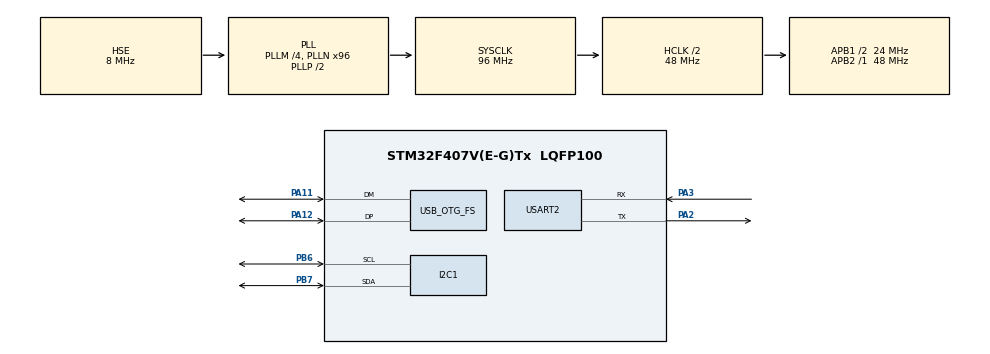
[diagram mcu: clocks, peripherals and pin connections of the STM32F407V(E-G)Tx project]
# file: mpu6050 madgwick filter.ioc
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Mcu.Family=STM32F4
Mcu.Name=STM32F407V(E-G)Tx
Mcu.Package=LQFP100
NVIC.OTG_FS_IRQn=true\:0\:0\:false\:false\:true\:false
NVIC.PriorityGroup=NVIC_PRIORITYGROUP_0
NVIC.RCC_IRQn=true\:0\:0\:false\:false\:true\:true
PA11.Mode=Device_Only
PA11.Signal=USB_OTG_FS_DM
PA12.Mode=Device_Only
PA12.Signal=USB_OTG_FS_DP
PA13.Mode=Serial_Wire
PA13.Signal=SYS_JTMS-SWDIO
PA14.Mode=Serial_Wire
PA14.Signal=SYS_JTCK-SWCLK
PA2.Mode=Asynchronous
PA2.Signal=USART2_TX
PA3.Mode=Asynchronous
PA3.Signal=USART2_RX
PB6.Mode=I2C
PB6.Signal=I2C1_SCL
PB7.Mode=I2C
PB7.Signal=I2C1_SDA
PH0-OSC_IN.Mode=HSE-External-Oscillator
PH0-OSC_IN.Signal=RCC_OSC_IN
PH1-OSC_OUT.Mode=HSE-External-Oscillator
PH1-OSC_OUT.Signal=RCC_OSC_OUT
ProjectManager.HeapSize=0x200
ProjectManager.StackSize=0x400
ProjectManager.TargetToolchain=MDK-ARM V5
RCC.48MHZClocksFreq_Value=48000000
RCC.AHBCLKDivider=RCC_SYSCLK_DIV2
RCC.AHBFreq_Value=48000000
RCC.APB1CLKDivider=RCC_HCLK_DIV2
RCC.APB1Freq_Value=24000000
RCC.APB1TimFreq_Value=48000000
RCC.APB2Freq_Value=48000000
RCC.APB2TimFreq_Value=48000000
RCC.CortexFreq_Value=48000000
RCC.HCLKFreq_Value=48000000
RCC.HSE_VALUE=8000000
RCC.HSI_VALUE=16000000
RCC.LSE_VALUE=32768
RCC.PLLM=4
RCC.PLLN=96
RCC.SYSCLKFreq_VALUE=96000000
RCC.SYSCLKSource=RCC_SYSCLKSOURCE_PLLCLK
RCC.VCOOutputFreq_Value=192000000
USART2.VirtualMode=VM_ASYNC
USB_DEVICE.CLASS_NAME_FS=HID
USB_DEVICE.VirtualMode-HID_FS=Hid
USB_DEVICE.VirtualModeFS=Hid_FS
USB_OTG_FS.VirtualMode=Device_Only
VP_USB_DEVICE_VS_USB_DEVICE_HID_FS.Mode=HID_FS
board=STM32F4DISCOVERY

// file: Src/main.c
/**
  ******************************************************************************
  * File Name          : main.c
  * Description        : Main program body
  ******************************************************************************
  * This notice applies to any and all portions of this file
  * that are not between comment pairs USER CODE BEGIN and
  * USER CODE END. Other portions of this file, whether
  * inserted by the user or by software development tools
  * are owned by their respective copyright owners.
  *
  * Copyright (c) 2017 STMicroelectronics International N.V.
  * All rights reserved.
  *
  * Redistribution and use in source and binary forms, with or without
  * modification, are permitted, provided that the following conditions are met:
  *
  * 1. Redistribution of source code must retain the above copyright notice,
  *    this list of conditions and the following disclaimer.
  * 2. Redistributions in binary form must reproduce the above copyright notice,
  *    this list of conditions and the following disclaimer in the documentation
  *    and/or other materials provided with the distribution.
  * 3. Neither the name of STMicroelectronics nor the names of other
  *    contributors to this software may be used to endorse or promote products
  *    derived from this software without specific written permission.
  * 4. This software, including modifications and/or derivative works of this
  *    software, must execute solely and exclusively on microcontroller or
  *    microprocessor devices manufactured by or for STMicroelectronics.
  * 5. Redistribution and use of this software other than as permitted under
  *    this license is void and will automatically terminate your rights under
  *    this license.
  *
  * THIS SOFTWARE IS PROVIDED BY STMICROELECTRONICS AND CONTRIBUTORS "AS IS"
  * AND ANY EXPRESS, IMPLIED OR STATUTORY WARRANTIES, INCLUDING, BUT NOT
  * LIMITED TO, THE IMPLIED WARRANTIES OF MERCHANTABILITY, FITNESS FOR A
  * PARTICULAR PURPOSE AND NON-INFRINGEMENT OF THIRD PARTY INTELLECTUAL PROPERTY
  * RIGHTS ARE DISCLAIMED TO THE FULLEST EXTENT PERMITTED BY LAW. IN NO EVENT
  * SHALL STMICROELECTRONICS OR CONTRIBUTORS BE LIABLE FOR ANY DIRECT, INDIRECT,
  * INCIDENTAL, SPECIAL, EXEMPLARY, OR CONSEQUENTIAL DAMAGES (INCLUDING, BUT NOT
  * LIMITED TO, PROCUREMENT OF SUBSTITUTE GOODS OR SERVICES; LOSS OF USE, DATA,
  * OR PROFITS; OR BUSINESS INTERRUPTION) HOWEVER CAUSED AND ON ANY THEORY OF
  * LIABILITY, WHETHER IN CONTRACT, STRICT LIABILITY, OR TORT (INCLUDING
  * NEGLIGENCE OR OTHERWISE) ARISING IN ANY WAY OUT OF THE USE OF THIS SOFTWARE,
  * EVEN IF ADVISED OF THE POSSIBILITY OF SUCH DAMAGE.
  *
  ******************************************************************************
  */

#include "main.h"
#include "stm32f4xx_hal.h"
#include "usb_device.h"

/* USER CODE BEGIN Includes */

#include <usbd_hid.h>
extern USBD_HandleTypeDef hUsbDeviceFS;
extern float gx, gy, gz, ax, ay, az;
#include <math.h>
#include <MadgwickAHRS.h>
/* USER CODE END Includes */

I2C_HandleTypeDef hi2c1;

UART_HandleTypeDef huart2;

/* USER CODE BEGIN PV */
/* Private variables ---------------------------------------------------------*/
	unsigned int accx, accy, accz;
	int gyro_x, gyro_y, gyro_z;
	long acc_x, acc_y, acc_z, acc_total_vector;
	int temperature;
	long gyro_x_cal, gyro_y_cal, gyro_z_cal;
	long loop_timer;
	float angle_pitch, angle_roll;
	int angle_pitch_buffer, angle_roll_buffer;
  float angle_roll_acc, angle_pitch_acc;
  float angle_pitch_output, angle_roll_output;

	void set_MPU6050_registers(void);
	void read_mpu_6050_data(void);

	uint8_t buffer[4];   			// for usb hid mouse //

/* USER CODE END PV */

void SystemClock_Config(void);
static void MX_GPIO_Init(void);
static void MX_USART2_UART_Init(void);
static void MX_I2C1_Init(void);

/* USER CODE BEGIN PFP */
/* Private function prototypes -----------------------------------------------*/

/* USER CODE END PFP */

int main(void)
{

  /* MCU Configuration----------------------------------------------------------*/

  /* Reset of all peripherals, Initializes the Flash interface and the Systick. */
	HAL_Init();

  /* Configure the system clock */
	SystemClock_Config();

  /* Initialize all configured peripherals */
	MX_GPIO_Init();
	MX_USART2_UART_Init();
	MX_I2C1_Init();
	MX_USB_DEVICE_Init();

  /* USER CODE BEGIN 2 */

	buffer[0] = 0;				// mouse button //
	buffer[1] = 0;				// mouse x 	//
	buffer[2] = 0;				// mouse y //
  buffer[3] = 0;				// mouse wheel //

 	set_MPU6050_registers();

	for (int cal_int = 0; cal_int < 65 ; cal_int ++)										//Run this code 65 times
{
	if(cal_int % 125 == 0)HAL_GPIO_TogglePin(GPIOC, GPIO_PIN_13);    //Print a dot on the LCD every 125 readings
	read_mpu_6050_data();                                              //Read the raw acc and gyro data from the MPU-6050
	gyro_x_cal += gyro_x;                                              //Add the gyro x-axis offset to the gyro_x_cal variable
	gyro_y_cal += gyro_y;                                              //Add the gyro y-axis offset to the gyro_y_cal variable
	gyro_z_cal += gyro_z;                                              //Add the gyro z-axis offset to the gyro_z_cal variable
	HAL_Delay(3);                                                          //Delay 3us to simulate the 250Hz program loop
}
	gyro_x_cal /= 65;                                                  //Divide the gyro_x_cal variable by 2000 to get the avarage offset
	gyro_y_cal /= 65;                                                  //Divide the gyro_y_cal variable by 2000 to get the avarage offset
	gyro_z_cal /= 65;                                                  //Divide the gyro_z_cal variable by 2000 to get the avarage offset

  /* USER CODE END 2 */

  /* Infinite loop */
  while (1)
  {

  /* USER CODE BEGIN 3 */
	read_mpu_6050_data();

	gyro_x -= gyro_x_cal;                                                //Subtract the offset calibration value from the raw gyro_x value
  gyro_y -= gyro_y_cal;                                                //Subtract the offset calibration value from the raw gyro_y value
  gyro_z -= gyro_z_cal;                                                //Subtract the offset calibration value from the raw gyro_z value

 // converting acc to G's //
	 ax = ((float)acc_x) / 8192.0f;
	 ay = ((float)acc_y) / 8192.0f;
	 az = ((float)acc_z) / 8192.0f;
	// converting gyro to rad per sec //

	 gx = ((float)gyro_x) / 939.650784f;
	 gy = ((float)gyro_y) / 939.650784f;
	 gz = ((float)gyro_z) / 939.650784f;

	/*Implementing madgwick filter function*/

  MadgwickAHRSupdateIMU(gx, gy ,gz, ax, ay, az);

	/*calculate the pitch and roll*/

 angle_pitch = ((acosf(q0 / sqrt(q0*q0 + q2*q2)) * 2.0f) - 1.570796327f) * (180 / 3.142);

 angle_roll = ((acosf(q1 / sqrt(q1*q1 + q2*q2)))-1.570796327f )* (180 / 3.142);

//0.000001066 = 0.0000611 * (3.142(PI) / 180degr) The Arduino sin function is in radians

 angle_pitch += angle_roll * sin(gz * 0.000001066);               //If the IMU has yawed, transfer the roll angle to the pitch angle

 angle_roll -= angle_pitch * sin(gz * 0.000001066);               //If the IMU has yawed, transfer the pitch angle to the roll angle

 //To dampen the pitch and roll angles a complementary filter is used

 angle_pitch_output = angle_pitch_output * 0.9 + angle_pitch * 0.1;   //Take 90% of the output pitch value and add 10% of the raw pitch value

 angle_roll_output = angle_roll_output * 0.9 + angle_roll * 0.1;      //Take 90% of the output roll value and add 10% of the raw roll value
	/*
// mahony filter algorithm//
	ax = (float)acc_x;
	ay = (float)acc_y;
	az = (float)acc_z;
	gx = (float)gyro_x;
	gy = (float)gyro_x;
	gz = (float)gyro_x;
	MahonyAHRSupdate(gx, gy, gz, ax, ay, az, NULL, NULL, NULL );
  MahonyAHRSupdateIMU(gx, gy ,gx, ax, ay, az);

		//Gyro angle calculations
  //0.0000611 = 1 / (250Hz / 65.5)
  angle_pitch += gx * 0.0000611;                                   //Calculate the traveled pitch angle and add this to the angle_pitch variable
  angle_roll += gy * 0.0000611;                                    //Calculate the traveled roll angle and add this to the angle_roll variable

  //0.000001066 = 0.0000611 * (3.142(PI) / 180degr) The Arduino sin function is in radians
  angle_pitch += angle_roll * sin(gz * 0.000001066);               //If the IMU has yawed, transfer the roll angle to the pitch angle
  angle_roll -= angle_pitch * sin(gz * 0.000001066);               //If the IMU has yawed, transfer the pitch angle to the roll angle

  //Accelerometer angle calculations
  acc_total_vector = sqrt((ax*ax)+(ay*ay)+(az*az));  //Calculate the total accelerometer vector
  //57.296 = 1 / (3.142 / 180) The Arduino asin function is in radians
  angle_pitch_acc = asin((float)ay/acc_total_vector)* 57.296;       //Calculate the pitch angle
  angle_roll_acc = asin((float)ax/acc_total_vector)* -57.296;       //Calculate the roll angle

  //Place the MPU-6050 spirit level and note the values in the following two lines for calibration
  angle_pitch_acc -= 0.0;                                              //Accelerometer calibration value for pitch
  angle_roll_acc -= 0.0;                                               //Accelerometer calibration value for roll

    //If the IMU is already started
    angle_pitch = angle_pitch * 0.9996 + angle_pitch_acc * 0.0004;     //Correct the drift of the gyro pitch angle with the accelerometer pitch angle
    angle_roll = angle_roll * 0.9996 + angle_roll_acc * 0.0004;        //Correct the drift of the gyro roll angle with the accelerometer roll angle

  //To dampen the pitch and roll angles a complementary filter is used
  angle_pitch_output = angle_pitch_output * 0.9 + angle_pitch * 0.1;   //Take 90% of the output pitch value and add 10% of the raw pitch value
  angle_roll_output = angle_roll_output * 0.9 + angle_roll * 0.1;      //Take 90% of the output roll value and add 10% of the raw roll value
	 */

		HAL_Delay(100);
/*
	// USB HID MOUSE //
		if(angle_pitch_output > 155) //&& angle_pitch_output < 155//)
		{
			buffer[0] = 0;				// mouse button //
			buffer[1] = 10;       // mouse x 	//
			buffer[2] = 0;				// mouse y //
			buffer[3] = 0;				// mouse wheel //

			USBD_HID_SendReport(&hUsbDeviceFS, buffer, 4);
			HAL_Delay(10);
		}
		else if(angle_pitch_output < -220) //&& angle_pitch_output > -280)
		{
			buffer[0] = 0;				// mouse button //
			buffer[1] = -10;				// mouse x 	//
			buffer[2] = 0;				// mouse y //
			buffer[3] = 0;				// mouse wheel //

			USBD_HID_SendReport(&hUsbDeviceFS, buffer, 4);
			HAL_Delay(10);
		}
		else if(angle_roll_output > 195) //&& angle_roll_output < 255)
		{
			buffer[0] = 0;				// mouse button //
			buffer[1] = 0;				// mouse x 	//
			buffer[2] = 10;				// mouse y //
			buffer[3] = 0;				// mouse wheel //

			USBD_HID_SendReport(&hUsbDeviceFS, buffer, 4);
			HAL_Delay(10);
		}
		else if(angle_roll_output < 5 )//&& angle_roll_output > -55)
		{
			buffer[0] = 0;				// mouse button //
			buffer[1] = 0;				// mouse x 	//
			buffer[2] = -10;			// mouse y //
			buffer[3] = 0;				// mouse wheel //

			USBD_HID_SendReport(&hUsbDeviceFS, buffer, 4);
			HAL_Delay(10);
		}
		else
		{
			buffer[0] = 0;				// mouse button //
			buffer[1] = 0;				// mouse x 	//
			buffer[2] = 0;				// mouse y //
			buffer[3] = 0;				// mouse wheel //

			USBD_HID_SendReport(&hUsbDeviceFS, buffer, 4);
			HAL_Delay(10);

		}
*/

  }
  /* USER CODE END 3 */

}

/** System Clock Configuration
*/
void SystemClock_Config(void)
{

  RCC_OscInitTypeDef RCC_OscInitStruct;
  RCC_ClkInitTypeDef RCC_ClkInitStruct;

    /**Configure the main internal regulator output voltage
    */
  __HAL_RCC_PWR_CLK_ENABLE();

  __HAL_PWR_VOLTAGESCALING_CONFIG(PWR_REGULATOR_VOLTAGE_SCALE1);

    /**Initializes the CPU, AHB and APB busses clocks
    */
  RCC_OscInitStruct.OscillatorType = RCC_OSCILLATORTYPE_HSE;
  RCC_OscInitStruct.HSEState = RCC_HSE_ON;
  RCC_OscInitStruct.PLL.PLLState = RCC_PLL_ON;
  RCC_OscInitStruct.PLL.PLLSource = RCC_PLLSOURCE_HSE;
  RCC_OscInitStruct.PLL.PLLM = 4;
  RCC_OscInitStruct.PLL.PLLN = 96;
  RCC_OscInitStruct.PLL.PLLP = RCC_PLLP_DIV2;
  RCC_OscInitStruct.PLL.PLLQ = 4;
  if (HAL_RCC_OscConfig(&RCC_OscInitStruct) != HAL_OK)
  {
    _Error_Handler(__FILE__, __LINE__);
  }

    /**Initializes the CPU, AHB and APB busses clocks
    */
  RCC_ClkInitStruct.ClockType = RCC_CLOCKTYPE_HCLK|RCC_CLOCKTYPE_SYSCLK
                              |RCC_CLOCKTYPE_PCLK1|RCC_CLOCKTYPE_PCLK2;
  RCC_ClkInitStruct.SYSCLKSource = RCC_SYSCLKSOURCE_PLLCLK;
  RCC_ClkInitStruct.AHBCLKDivider = RCC_SYSCLK_DIV2;
  RCC_ClkInitStruct.APB1CLKDivider = RCC_HCLK_DIV2;
  RCC_ClkInitStruct.APB2CLKDivider = RCC_HCLK_DIV1;

  if (HAL_RCC_ClockConfig(&RCC_ClkInitStruct, FLASH_LATENCY_1) != HAL_OK)
  {
    _Error_Handler(__FILE__, __LINE__);
  }

    /**Configure the Systick interrupt time
    */
  HAL_SYSTICK_Config(HAL_RCC_GetHCLKFreq()/1000);

    /**Configure the Systick
    */
  HAL_SYSTICK_CLKSourceConfig(SYSTICK_CLKSOURCE_HCLK);

  /* SysTick_IRQn interrupt configuration */
  HAL_NVIC_SetPriority(SysTick_IRQn, 0, 0);
}

/* I2C1 init function */
static void MX_I2C1_Init(void)
{

  hi2c1.Instance = I2C1;
  hi2c1.Init.ClockSpeed = 100000;
  hi2c1.Init.DutyCycle = I2C_DUTYCYCLE_2;
  hi2c1.Init.OwnAddress1 = 0;
  hi2c1.Init.AddressingMode = I2C_ADDRESSINGMODE_7BIT;
  hi2c1.Init.DualAddressMode = I2C_DUALADDRESS_DISABLE;
  hi2c1.Init.OwnAddress2 = 0;
  hi2c1.Init.GeneralCallMode = I2C_GENERALCALL_DISABLE;
  hi2c1.Init.NoStretchMode = I2C_NOSTRETCH_DISABLE;
  if (HAL_I2C_Init(&hi2c1) != HAL_OK)
  {
    _Error_Handler(__FILE__, __LINE__);
  }

}

/* USART2 init function */
static void MX_USART2_UART_Init(void)
{

  huart2.Instance = USART2;
  huart2.Init.BaudRate = 9600;
  huart2.Init.WordLength = UART_WORDLENGTH_8B;
  huart2.Init.StopBits = UART_STOPBITS_1;
  huart2.Init.Parity = UART_PARITY_NONE;
  huart2.Init.Mode = UART_MODE_TX_RX;
  huart2.Init.HwFlowCtl = UART_HWCONTROL_NONE;
  huart2.Init.OverSampling = UART_OVERSAMPLING_16;
  if (HAL_UART_Init(&huart2) != HAL_OK)
  {
    _Error_Handler(__FILE__, __LINE__);
  }

}

/** Configure pins as
        * Analog
        * Input
        * Output
        * EVENT_OUT
        * EXTI
*/
static void MX_GPIO_Init(void)
{

  /* GPIO Ports Clock Enable */
  __HAL_RCC_GPIOH_CLK_ENABLE();
  __HAL_RCC_GPIOA_CLK_ENABLE();
  __HAL_RCC_GPIOB_CLK_ENABLE();

}

/* USER CODE BEGIN 4 */
//Subroutine for reading the raw gyro and accelerometer data
void read_mpu_6050_data(){

  uint8_t tempBuffer[14];

	tempBuffer[0] = 0x3B;
	HAL_I2C_Master_Transmit(&hi2c1,0x68<<1, tempBuffer, 1, 100);				 //Request the data burst

	HAL_I2C_Master_Receive(&hi2c1,0x68<<1, tempBuffer, 14, 100);				 //Request 14 bytes from the MPU-6050

  while( HAL_I2C_GetState(&hi2c1) == HAL_I2C_STATE_BUSY_RX);           //Wait until all the bytes are received

  acc_x = tempBuffer[0]<<8|tempBuffer[1];                                  //Add the low and high byte to the acc_x variable
  acc_y = tempBuffer[2]<<8|tempBuffer[3];                                  //Add the low and high byte to the acc_y variable
  acc_z = tempBuffer[4]<<8|tempBuffer[5];                                  //Add the low and high byte to the acc_z variable
  temperature = tempBuffer[6]<<8|tempBuffer[7];                            //Add the low and high byte to the temperature variable
  gyro_x = tempBuffer[8]<<8|tempBuffer[9];                                 //Add the low and high byte to the gyro_x variable
  gyro_y = tempBuffer[10]<<8|tempBuffer[11];                                 //Add the low and high byte to the gyro_y variable
  gyro_z = tempBuffer[12]<<8|tempBuffer[13];                                 //Add the low and high byte to the gyro_z variable

}

void set_MPU6050_registers()
{
	unsigned char tempBuffer1[2];
	unsigned char tempBuffer2[2];
	unsigned char tempBuffer3[2];
	tempBuffer1[0]=0x6B;	//Activate the MPU-6050
	tempBuffer1[1]=0x00;

	tempBuffer2[0]=0x1C;	//Configure the accelerometer (+/-8g)
	tempBuffer2[1]=0x10;

	tempBuffer3[0]=0x1B;	//Configure the gyro (500dps full scale)
	tempBuffer3[1]=0x08;

	HAL_I2C_Master_Transmit(&hi2c1,0x68<<1, tempBuffer1, 2, 100);
  HAL_Delay(20);
	HAL_I2C_Master_Transmit(&hi2c1,0x68<<1, tempBuffer2, 2, 100);
	HAL_Delay(20);
	HAL_I2C_Master_Transmit(&hi2c1,0x68<<1, tempBuffer3, 2, 100);
	HAL_Delay(20);
}

/* USER CODE END 4 */

void _Error_Handler(char * file, int line)
{
  while(1)
  {
  }
}

/************************ (C) COPYRIGHT STMicroelectronics *****END OF FILE****/
